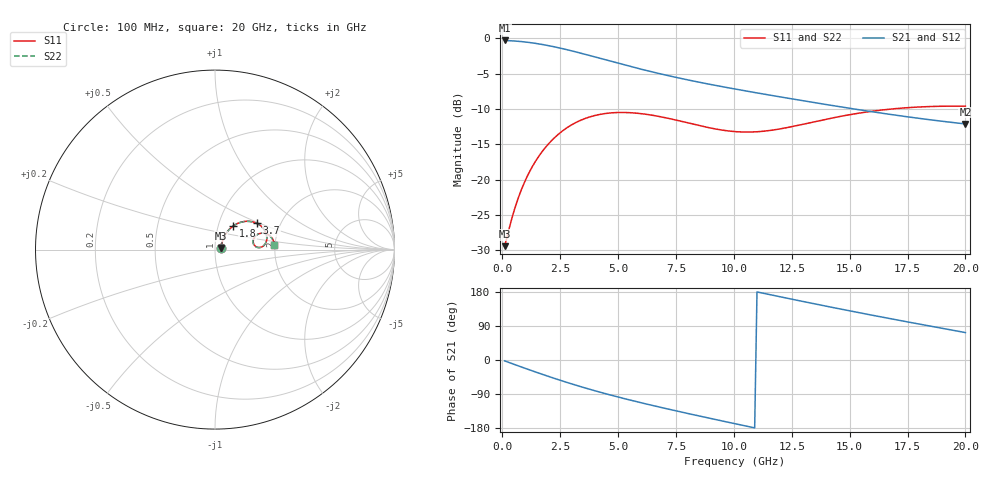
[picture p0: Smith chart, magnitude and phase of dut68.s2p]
! Touchstone file exported from HFSS 2024.1.0
!  File:  C:/UserFiles/LocalFiles/RDL_TSV_Batchsim/temp_RDL_TSV_68_1779410957.aedt
!  Generated:  09:06:27 AM May 22, 2026
!  Design:  RDL_TSV
!  Project:  temp_RDL_TSV_68_1779410957
!  Setup:  Setup1
!  Solution:  Sweep
! Variables:
!  dtsv = 6.31um
!  hbump = 3um
!  htsv = 63.03um
!  ldown = 634.85um
!  lrdl = 670.42um
!  p = 40
!  p1 = 47.79um
!  rhole = 10um
!  subl = 4586.23um
!  t = 450um
!  tdown = 2.72um
!  trdl = 4.51um
!  viad = 10um
!  wdown = 10.24um
!  wrdl = 28.23um
!  xbump = 18um
# GHz S MA R 50.000000
! Terminal data exported
! Port[1] = TM1_1_T1
! Port[2] = TM1_4_T1
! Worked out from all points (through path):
!   200 points, 100 MHz to 20 GHz, reference 50 ohm
!   highest |S21| = -0.28 dB at 100 MHz (marker M1); lowest = -12.1 dB at 20 GHz (marker M2)
!   group delay of S21, straight-line fit = 38.2 ps
!   lowest |S11| = -29.4 dB at 100 MHz (marker M3), VSWR 1.07, Z = 53.3 + j1.05 ohm
!   |S11| at or under -10 dB: start of sweep to 16.82 GHz
!   |S22| runs from -29.4 to -9.6 dB; largest |S21 - S12| = 1.1e-14
!   S11 on the Smith chart (normalised r, x): 100 MHz: 1.07, +0.02; 1.8 GHz: 1.18, +0.31; 3.7 GHz: 1.52, +0.48; 20 GHz: 1.98, +0.11
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0.1  0.03369 16.9  0.9678 -2.3  0.9678 -2.3  0.03369 16.9
! Gamma 0 0 0 0
! Port Impedance 50 0 50 0
0.5  0.05937 47.2  0.96 -11.3  0.96 -11.3  0.05938 47.2
0.9  0.09078 54.7  0.9476 -20.1  0.9476 -20.1  0.09079 54.6
1.3  0.1236 55.5  0.93 -28.7  0.93 -28.7  0.1236 55.4
1.8  0.1639 52.7  0.9019 -39.3  0.9019 -39.3  0.1638 52.6
2.2  0.194 49.1  0.8755 -47.5  0.8755 -47.5  0.1938 48.9
2.6  0.2211 44.8  0.8468 -55.5  0.8468 -55.5  0.2208 44.7
3  0.2445 40.2  0.8166 -63.1  0.8166 -63.1  0.2441 40.1
3.5  0.2678 34.4  0.7779 -72.4  0.7779 -72.4  0.2674 34.2
3.7  0.2753 32.1  0.7625 -75.9  0.7625 -75.9  0.2747 31.9
4.5  0.2944 23.4  0.7026 -89.6  0.7026 -89.6  0.2937 23.2
5.2  0.2988 16.8  0.6544 -100.8  0.6544 -100.8  0.2979 16.6
6  0.293 10.5  0.6052 -112.9  0.6052 -112.9  0.292 10.3
6.8  0.2794 6.0  0.5625 -124.4  0.5625 -124.4  0.2783 5.8
8.4  0.2435 2.8  0.4933 -146.3  0.4933 -146.3  0.2422 2.6
10.1  0.2183 7.9  0.4366 -168.8  0.4366 -168.8  0.2167 7.8
11.5  0.2221 14.9  0.3979 173.2  0.3979 173.2  0.2205 14.9
13.4  0.255 19.7  0.3526 149.3  0.3526 149.3  0.2533 19.7
15  0.288 18.5  0.3199 129.8  0.3199 129.8  0.2863 18.5
16.7  0.3148 14.2  0.2903 109.7  0.2903 109.7  0.313 14.3
18.3  0.3284 9.4  0.2674 91.5  0.2674 91.5  0.3264 9.4
20  0.331 4.3  0.2478 72.4  0.2478 72.4  0.3289 4.3
